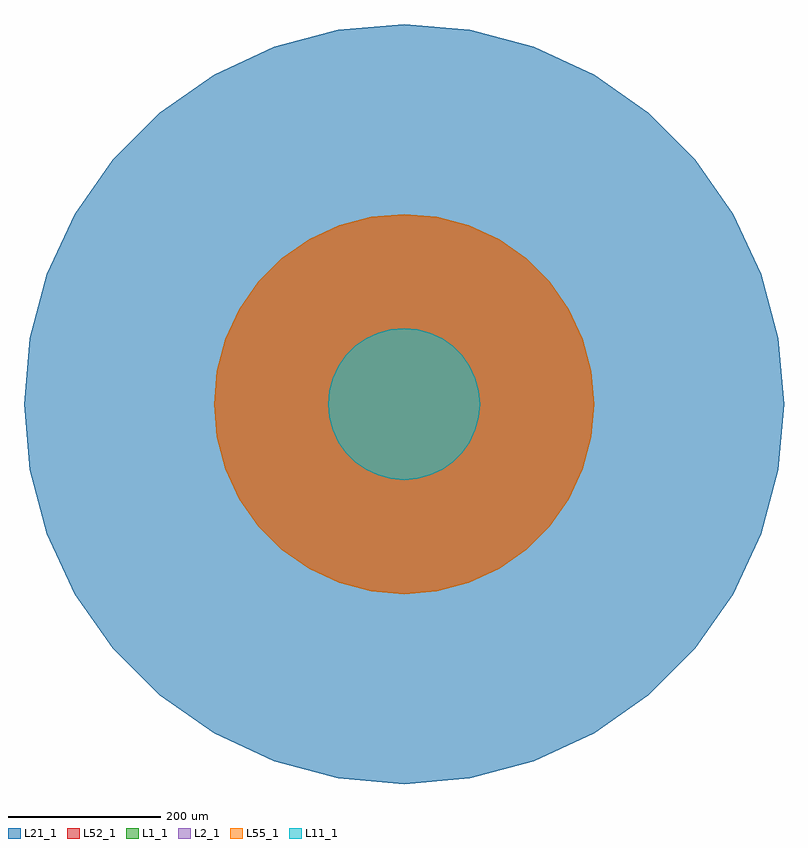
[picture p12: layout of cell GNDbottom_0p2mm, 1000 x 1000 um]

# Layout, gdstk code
import gdstk
lib = gdstk.Library(unit=1e-6, precision=1e-09)
def P(c, l, *ps):  # polygons
    for p in ps: c.add(gdstk.Polygon(p, *l))
L1_1 = (1, 1)
L2_1 = (2, 1)
L11_1 = (11, 1)
L21_1 = (21, 1)
L52_1 = (52, 1)
L55_1 = (55, 1)

gndbottom_0p2mm = lib.new_cell('GNDbottom_0p2mm')
P(gndbottom_0p2mm, L1_1, [(250,0),(246.202,-43.412),(234.923,-85.505),(216.506,-125),(191.511,-160.697),(160.697,-191.511),(125,-216.506),(85.505,-234.923),(43.412,-246.202),(0,-250),(-43.412,-246.202),(-85.505,-234.923),(-125,-216.506),(-160.697,-191.511),(-191.511,-160.697),(-216.506,-125),(-234.923,-85.505),(-246.202,-43.412),(-250,0),(-246.202,43.412),(-234.923,85.505),(-216.506,125),(-191.511,160.697),(-160.697,191.511),(-125,216.506),(-85.505,234.923),(-43.412,246.202),(0,250),(43.412,246.202),(85.505,234.923),(125,216.506),(160.697,191.511),(191.511,160.697),(216.506,125),(234.923,85.505),(246.202,43.412)])
P(gndbottom_0p2mm, L2_1, [(250,0),(246.202,-43.412),(234.923,-85.505),(216.506,-125),(191.511,-160.697),(160.697,-191.511),(125,-216.506),(85.505,-234.923),(43.412,-246.202),(0,-250),(-43.412,-246.202),(-85.505,-234.923),(-125,-216.506),(-160.697,-191.511),(-191.511,-160.697),(-216.506,-125),(-234.923,-85.505),(-246.202,-43.412),(-250,0),(-246.202,43.412),(-234.923,85.505),(-216.506,125),(-191.511,160.697),(-160.697,191.511),(-125,216.506),(-85.505,234.923),(-43.412,246.202),(0,250),(43.412,246.202),(85.505,234.923),(125,216.506),(160.697,191.511),(191.511,160.697),(216.506,125),(234.923,85.505),(246.202,43.412)])
P(gndbottom_0p2mm, L11_1, [(100,0),(98.481,-17.365),(93.969,-34.202),(86.603,-50),(76.604,-64.279),(64.279,-76.604),(50,-86.603),(34.202,-93.969),(17.365,-98.481),(0,-100),(-17.365,-98.481),(-34.202,-93.969),(-50,-86.603),(-64.279,-76.604),(-76.604,-64.279),(-86.603,-50),(-93.969,-34.202),(-98.481,-17.365),(-100,0),(-98.481,17.365),(-93.969,34.202),(-86.603,50),(-76.604,64.279),(-64.279,76.604),(-50,86.603),(-34.202,93.969),(-17.365,98.481),(0,100),(17.365,98.481),(34.202,93.969),(50,86.603),(64.279,76.604),(76.604,64.279),(86.603,50),(93.969,34.202),(98.481,17.365)])
P(gndbottom_0p2mm, L21_1, [(500,0),(492.404,-86.824),(469.846,-171.01),(433.013,-250),(383.022,-321.394),(321.394,-383.022),(250,-433.013),(171.01,-469.846),(86.824,-492.404),(0,-500),(-86.824,-492.404),(-171.01,-469.846),(-250,-433.013),(-321.394,-383.022),(-383.022,-321.394),(-433.013,-250),(-469.846,-171.01),(-492.404,-86.824),(-500,0),(-492.404,86.824),(-469.846,171.01),(-433.013,250),(-383.022,321.394),(-321.394,383.022),(-250,433.013),(-171.01,469.846),(-86.824,492.404),(0,500),(86.824,492.404),(171.01,469.846),(250,433.013),(321.394,383.022),(383.022,321.394),(433.013,250),(469.846,171.01),(492.404,86.824)])
P(gndbottom_0p2mm, L52_1, [(250,0),(246.202,-43.412),(234.923,-85.505),(216.506,-125),(191.511,-160.697),(160.697,-191.511),(125,-216.506),(85.505,-234.923),(43.412,-246.202),(0,-250),(-43.412,-246.202),(-85.505,-234.923),(-125,-216.506),(-160.697,-191.511),(-191.511,-160.697),(-216.506,-125),(-234.923,-85.505),(-246.202,-43.412),(-250,0),(-246.202,43.412),(-234.923,85.505),(-216.506,125),(-191.511,160.697),(-160.697,191.511),(-125,216.506),(-85.505,234.923),(-43.412,246.202),(0,250),(43.412,246.202),(85.505,234.923),(125,216.506),(160.697,191.511),(191.511,160.697),(216.506,125),(234.923,85.505),(246.202,43.412)])
P(gndbottom_0p2mm, L55_1, [(250,0),(246.202,-43.412),(234.923,-85.505),(216.506,-125),(191.511,-160.697),(160.697,-191.511),(125,-216.506),(85.505,-234.923),(43.412,-246.202),(0,-250),(-43.412,-246.202),(-85.505,-234.923),(-125,-216.506),(-160.697,-191.511),(-191.511,-160.697),(-216.506,-125),(-234.923,-85.505),(-246.202,-43.412),(-250,0),(-246.202,43.412),(-234.923,85.505),(-216.506,125),(-191.511,160.697),(-160.697,191.511),(-125,216.506),(-85.505,234.923),(-43.412,246.202),(0,250),(43.412,246.202),(85.505,234.923),(125,216.506),(160.697,191.511),(191.511,160.697),(216.506,125),(234.923,85.505),(246.202,43.412)])
gndbottom_0p2mm.add(gdstk.FlexPath([(0,-50),(0,50)], 0, ends="round", simple_path=True, layer=1, datatype=1))  # L1_1
gndbottom_0p2mm.add(gdstk.FlexPath([(50,0),(-50,0)], 0, ends="round", simple_path=True, layer=1, datatype=1))  # L1_1
gndbottom_0p2mm.add(gdstk.FlexPath([(0,50),(0,-50)], 0, ends="round", simple_path=True, layer=1, datatype=1))  # L1_1
gndbottom_0p2mm.add(gdstk.FlexPath([(-50,0),(50,0)], 0, ends="round", simple_path=True, layer=1, datatype=1))  # L1_1

lib.write_gds('GNDbottom_0p2mm.gds')
